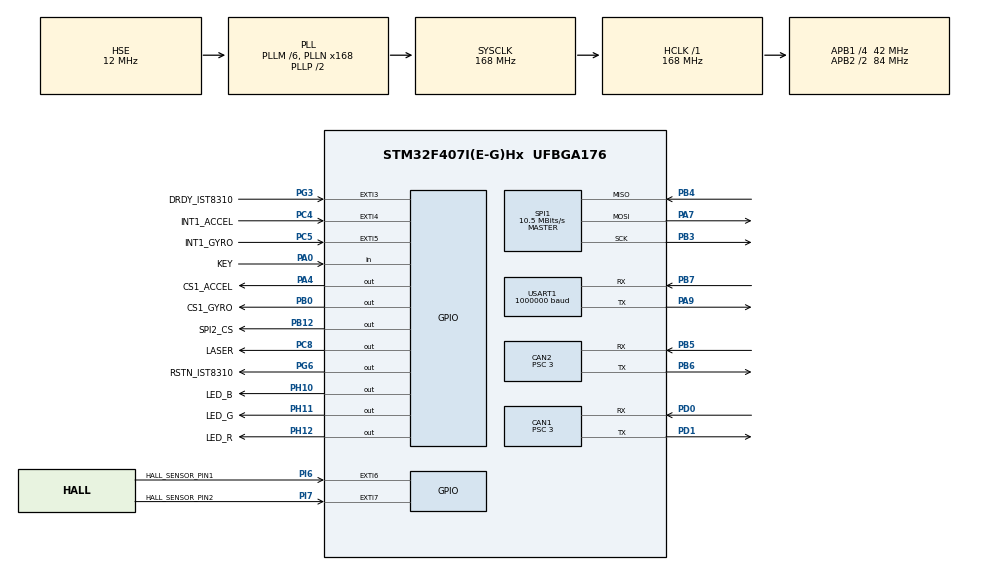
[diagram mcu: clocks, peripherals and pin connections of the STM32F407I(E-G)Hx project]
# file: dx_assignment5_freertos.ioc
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CAN1.ABOM=ENABLE
CAN1.AWUM=ENABLE
CAN1.BS1=CAN_BS1_7TQ
CAN1.BS2=CAN_BS2_6TQ
CAN1.CalculateBaudRate=1000000
CAN1.CalculateTimeBit=1000
CAN1.CalculateTimeQuantum=71.42857142857143
CAN1.Mode=CAN_MODE_NORMAL
CAN1.NART=ENABLE
CAN1.Prescaler=3
CAN1.TXFP=ENABLE
CAN2.BS1=CAN_BS1_7TQ
CAN2.BS2=CAN_BS2_6TQ
CAN2.CalculateBaudRate=1000000
CAN2.CalculateTimeBit=1000
CAN2.CalculateTimeQuantum=71.42857142857143
CAN2.Prescaler=3
Dma.Request0=SPI1_RX
Dma.Request1=SPI1_TX
Dma.Request2=USART1_RX
Dma.Request3=USART1_TX
Dma.SPI1_RX.0.Direction=DMA_PERIPH_TO_MEMORY
Dma.SPI1_RX.0.FIFOMode=DMA_FIFOMODE_DISABLE
Dma.SPI1_RX.0.Instance=DMA2_Stream0
Dma.SPI1_RX.0.MemDataAlignment=DMA_MDATAALIGN_BYTE
Dma.SPI1_RX.0.MemInc=DMA_MINC_ENABLE
Dma.SPI1_RX.0.Mode=DMA_NORMAL
Dma.SPI1_RX.0.PeriphDataAlignment=DMA_PDATAALIGN_BYTE
Dma.SPI1_RX.0.PeriphInc=DMA_PINC_DISABLE
Dma.SPI1_RX.0.Priority=DMA_PRIORITY_LOW
Dma.SPI1_TX.1.Direction=DMA_MEMORY_TO_PERIPH
Dma.SPI1_TX.1.FIFOMode=DMA_FIFOMODE_DISABLE
Dma.SPI1_TX.1.Instance=DMA2_Stream3
Dma.SPI1_TX.1.MemDataAlignment=DMA_MDATAALIGN_BYTE
Dma.SPI1_TX.1.MemInc=DMA_MINC_ENABLE
Dma.SPI1_TX.1.Mode=DMA_NORMAL
Dma.SPI1_TX.1.PeriphDataAlignment=DMA_PDATAALIGN_BYTE
Dma.SPI1_TX.1.PeriphInc=DMA_PINC_DISABLE
Dma.SPI1_TX.1.Priority=DMA_PRIORITY_LOW
Dma.USART1_RX.2.Direction=DMA_PERIPH_TO_MEMORY
Dma.USART1_RX.2.FIFOMode=DMA_FIFOMODE_DISABLE
Dma.USART1_RX.2.Instance=DMA2_Stream2
Dma.USART1_RX.2.MemDataAlignment=DMA_MDATAALIGN_BYTE
Dma.USART1_RX.2.MemInc=DMA_MINC_ENABLE
Dma.USART1_RX.2.Mode=DMA_NORMAL
Dma.USART1_RX.2.PeriphDataAlignment=DMA_PDATAALIGN_BYTE
Dma.USART1_RX.2.PeriphInc=DMA_PINC_DISABLE
Dma.USART1_RX.2.Priority=DMA_PRIORITY_LOW
Dma.USART1_TX.3.Direction=DMA_MEMORY_TO_PERIPH
Dma.USART1_TX.3.FIFOMode=DMA_FIFOMODE_DISABLE
Dma.USART1_TX.3.Instance=DMA2_Stream7
Dma.USART1_TX.3.MemDataAlignment=DMA_MDATAALIGN_BYTE
Dma.USART1_TX.3.MemInc=DMA_MINC_ENABLE
Dma.USART1_TX.3.Mode=DMA_NORMAL
Dma.USART1_TX.3.PeriphDataAlignment=DMA_PDATAALIGN_BYTE
Dma.USART1_TX.3.PeriphInc=DMA_PINC_DISABLE
Dma.USART1_TX.3.Priority=DMA_PRIORITY_LOW
FREERTOS.CountingSemaphores01=CAN1CountingSem,3,Dynamic,NULL;CAN2CountingSem,3,Dynamic,NULL
FREERTOS.Queues01=can1_send_fifo,16,can_device_transmit_member,0,Dynamic,NULL,NULL;can2_send_fifo,16,can_device_transmit_member,0,Dynamic,NULL,NULL
FREERTOS.Tasks01=CAN1_Sending_Service,40,256,can1_sending_service,As weak,NULL,Dynamic,NULL,NULL;CAN2_Sending_Service,40,256,can2_sending_service,As weak,NULL,Dynamic,NULL,NULL;DJI_Motor_Service,40,256,DJI_motor_service,As weak,NULL,Dynamic,NULL,NULL;LED_Task,8,128,StartLED_Task,As weak,NULL,Dynamic,NULL,NULL;IMU_Task,32,1024,StartIMU_Task,As weak,NULL,Dynamic,NULL,NULL;Motor_Task,40,512,StartMotor_Task,As weak,NULL,Dynamic,NULL,NULL;Power_Task,24,256,StartPower_Task,As weak,NULL,Dynamic,NULL,NULL;RC_Task,24,256,StartRC_Task,As weak,NULL,Dynamic,NULL,NULL
FREERTOS.configMAX_TASK_NAME_LEN=32
FREERTOS.configMINIMAL_STACK_SIZE=128
FREERTOS.configTOTAL_HEAP_SIZE=50000
FREERTOS.configUSE_NEWLIB_REENTRANT=1
Mcu.Family=STM32F4
Mcu.Name=STM32F407I(E-G)Hx
Mcu.Package=UFBGA176
NVIC.CAN1_RX0_IRQn=true\:5\:0\:false\:false\:true\:true\:true\:true\:true
NVIC.CAN1_TX_IRQn=true\:5\:0\:false\:false\:true\:true\:true\:true\:true
NVIC.CAN2_RX1_IRQn=true\:5\:0\:false\:false\:true\:true\:true\:true\:true
NVIC.CAN2_TX_IRQn=true\:5\:0\:false\:false\:true\:true\:true\:true\:true
NVIC.DMA2_Stream0_IRQn=true\:5\:0\:false\:false\:true\:true\:false\:true\:true
NVIC.DMA2_Stream2_IRQn=true\:5\:0\:false\:false\:true\:true\:false\:true\:true
NVIC.DMA2_Stream3_IRQn=true\:5\:0\:false\:false\:true\:true\:false\:true\:true
NVIC.DMA2_Stream7_IRQn=true\:5\:0\:false\:false\:true\:true\:false\:true\:true
NVIC.PriorityGroup=NVIC_PRIORITYGROUP_4
NVIC.TIM7_IRQn=true\:15\:0\:false\:false\:true\:false\:false\:true\:true
NVIC.TimeBase=TIM7_IRQn
NVIC.TimeBaseIP=TIM7
NVIC.USART1_IRQn=true\:5\:0\:false\:false\:true\:true\:true\:true\:true
PA0-WKUP.GPIO_Label=KEY
PA0-WKUP.GPIO_PuPd=GPIO_PULLUP
PA0-WKUP.Signal=GPIO_Input
PA13.Mode=Serial_Wire
PA13.Signal=SYS_JTMS-SWDIO
PA14.Mode=Serial_Wire
PA14.Signal=SYS_JTCK-SWCLK
PA4.GPIO_Label=CS1_ACCEL
PA4.GPIO_PuPd=GPIO_PULLUP
PA4.GPIO_Speed=GPIO_SPEED_FREQ_HIGH
PA4.PinState=GPIO_PIN_SET
PA4.Signal=GPIO_Output
PA7.Mode=Full_Duplex_Master
PA7.Signal=SPI1_MOSI
PA9.Mode=Asynchronous
PA9.Signal=USART1_TX
PB0.GPIO_Label=CS1_GYRO
PB0.GPIO_PuPd=GPIO_PULLUP
PB0.GPIO_Speed=GPIO_SPEED_FREQ_HIGH
PB0.PinState=GPIO_PIN_SET
PB0.Signal=GPIO_Output
PB12.GPIO_Label=SPI2_CS
PB12.GPIO_PuPd=GPIO_PULLUP
PB12.GPIO_Speed=GPIO_SPEED_FREQ_MEDIUM
PB12.PinState=GPIO_PIN_SET
PB12.Signal=GPIO_Output
PB3.Mode=Full_Duplex_Master
PB3.Signal=SPI1_SCK
PB4.Mode=Full_Duplex_Master
PB4.Signal=SPI1_MISO
PB5.Mode=CAN_Activate
PB5.Signal=CAN2_RX
PB6.Mode=CAN_Activate
PB6.Signal=CAN2_TX
PB7.Mode=Asynchronous
PB7.Signal=USART1_RX
PC4.GPIO_Label=INT1_ACCEL
PC4.GPIO_PuPd=GPIO_PULLUP
PC4.Signal=GPXTI4
PC5.GPIO_Label=INT1_GYRO
PC5.GPIO_PuPd=GPIO_PULLUP
PC5.Signal=GPXTI5
PC8.GPIO_Label=LASER
PC8.Signal=GPIO_Output
PD0.Mode=CAN_Activate
PD0.Signal=CAN1_RX
PD1.Mode=CAN_Activate
PD1.Signal=CAN1_TX
PG3.GPIO_Label=DRDY_IST8310
PG3.GPIO_PuPd=GPIO_PULLUP
PG3.Signal=GPXTI3
PG6.GPIO_Label=RSTN_IST8310
PG6.GPIO_PuPd=GPIO_PULLUP
PG6.GPIO_Speed=GPIO_SPEED_FREQ_MEDIUM
PG6.PinState=GPIO_PIN_SET
PG6.Signal=GPIO_Output
PH0-OSC_IN.Mode=HSE-External-Oscillator
PH0-OSC_IN.Signal=RCC_OSC_IN
PH1-OSC_OUT.Mode=HSE-External-Oscillator
PH1-OSC_OUT.Signal=RCC_OSC_OUT
PH10.GPIO_Label=LED_B
PH10.Signal=GPIO_Output
PH11.GPIO_Label=LED_G
PH11.Signal=GPIO_Output
PH12.GPIO_Label=LED_R
PH12.Signal=GPIO_Output
PI6.GPIO_Label=HALL_SENSOR_PIN1
PI6.Signal=GPXTI6
PI7.GPIO_Label=HALL_SENSOR_PIN2
PI7.Signal=GPXTI7
ProjectManager.HeapSize=0x200
ProjectManager.StackSize=0x400
ProjectManager.TargetToolchain=CMake
RCC.48MHZClocksFreq_Value=84000000
RCC.AHBFreq_Value=168000000
RCC.APB1CLKDivider=RCC_HCLK_DIV4
RCC.APB1Freq_Value=42000000
RCC.APB1TimFreq_Value=84000000
RCC.APB2CLKDivider=RCC_HCLK_DIV2
RCC.APB2Freq_Value=84000000
RCC.APB2TimFreq_Value=168000000
RCC.CortexFreq_Value=168000000
RCC.HCLKFreq_Value=168000000
RCC.HSE_VALUE=12000000
RCC.HSI_VALUE=16000000
RCC.LSE_VALUE=32768
RCC.PLLM=6
RCC.PLLN=168
RCC.PLLSourceVirtual=RCC_PLLSOURCE_HSE
RCC.SYSCLKFreq_VALUE=168000000
RCC.SYSCLKSource=RCC_SYSCLKSOURCE_PLLCLK
RCC.VCOOutputFreq_Value=336000000
SPI1.BaudRatePrescaler=SPI_BAUDRATEPRESCALER_8
SPI1.CLKPhase=SPI_PHASE_2EDGE
SPI1.CLKPolarity=SPI_POLARITY_HIGH
SPI1.CalculateBaudRate=10.5 MBits/s
SPI1.Direction=SPI_DIRECTION_2LINES
SPI1.Mode=SPI_MODE_MASTER
SPI1.VirtualType=VM_MASTER
USART1.BaudRate=1000000
USART1.Parity=PARITY_EVEN
USART1.VirtualMode=VM_ASYNC
USART1.WordLength=WORDLENGTH_9B
VP_FREERTOS_VS_CMSIS_V2.Mode=CMSIS_V2
VP_SYS_VS_tim7.Mode=TIM7
board=custom

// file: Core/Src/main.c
/* USER CODE BEGIN Header */
/**
  ******************************************************************************
  * @file           : main.c
  * @brief          : Main program body
  ******************************************************************************
  * @attention
  *
  * Copyright (c) 2026 STMicroelectronics.
  * All rights reserved.
  *
  * This software is licensed under terms that can be found in the LICENSE file
  * in the root directory of this software component.
  * If no LICENSE file comes with this software, it is provided AS-IS.
  *
  ******************************************************************************
  */
/* USER CODE END Header */
#include "main.h"
#include "cmsis_os.h"
#include "can.h"
#include "dma.h"
#include "spi.h"
#include "usart.h"
#include "gpio.h"

void SystemClock_Config(void);
void MX_FREERTOS_Init(void);

/* USER CODE BEGIN 0 */
void bsp_can_init() {
    HAL_CAN_Start(&hcan1);
    HAL_CAN_ActivateNotification(&hcan1,  CAN_IT_RX_FIFO0_MSG_PENDING | CAN_IT_TX_MAILBOX_EMPTY);
    HAL_CAN_Start(&hcan2);
    HAL_CAN_ActivateNotification(&hcan2,  CAN_IT_RX_FIFO1_MSG_PENDING | CAN_IT_TX_MAILBOX_EMPTY);
}
/* USER CODE END 0 */

int main(void)
{

  /* USER CODE BEGIN 1 */
  __HAL_RCC_SYSCLK_CONFIG(RCC_SYSCLKSOURCE_HSI);
  /* USER CODE END 1 */

  /* MCU Configuration--------------------------------------------------------*/

  /* Reset of all peripherals, Initializes the Flash interface and the Systick. */
  HAL_Init();

  /* Configure the system clock */
  SystemClock_Config();

  /* Initialize all configured peripherals */
  MX_GPIO_Init();
  MX_DMA_Init();
  MX_CAN1_Init();
  MX_CAN2_Init();
  MX_SPI1_Init();
  MX_USART1_UART_Init();
  /* USER CODE BEGIN 2 */
    bsp_can_init();
  /* USER CODE END 2 */

  /* Init scheduler */
  osKernelInitialize();  /* Call init function for freertos objects (in cmsis_os2.c) */
  MX_FREERTOS_Init();

  /* Start scheduler */
  osKernelStart();

  /* We should never get here as control is now taken by the scheduler */

  /* Infinite loop */
  while (1)
  {

  }
}

void SystemClock_Config(void)
{
  RCC_OscInitTypeDef RCC_OscInitStruct = {0};
  RCC_ClkInitTypeDef RCC_ClkInitStruct = {0};

  /** Configure the main internal regulator output voltage
  */
  __HAL_RCC_PWR_CLK_ENABLE();
  __HAL_PWR_VOLTAGESCALING_CONFIG(PWR_REGULATOR_VOLTAGE_SCALE1);

  /** Initializes the RCC Oscillators according to the specified parameters
  * in the RCC_OscInitTypeDef structure.
  */
  RCC_OscInitStruct.OscillatorType = RCC_OSCILLATORTYPE_HSE;
  RCC_OscInitStruct.HSEState = RCC_HSE_ON;
  RCC_OscInitStruct.PLL.PLLState = RCC_PLL_ON;
  RCC_OscInitStruct.PLL.PLLSource = RCC_PLLSOURCE_HSE;
  RCC_OscInitStruct.PLL.PLLM = 6;
  RCC_OscInitStruct.PLL.PLLN = 168;
  RCC_OscInitStruct.PLL.PLLP = RCC_PLLP_DIV2;
  RCC_OscInitStruct.PLL.PLLQ = 4;
  if (HAL_RCC_OscConfig(&RCC_OscInitStruct) != HAL_OK)
  {
    Error_Handler();
  }

  /** Initializes the CPU, AHB and APB buses clocks
  */
  RCC_ClkInitStruct.ClockType = RCC_CLOCKTYPE_HCLK|RCC_CLOCKTYPE_SYSCLK
                              |RCC_CLOCKTYPE_PCLK1|RCC_CLOCKTYPE_PCLK2;
  RCC_ClkInitStruct.SYSCLKSource = RCC_SYSCLKSOURCE_PLLCLK;
  RCC_ClkInitStruct.AHBCLKDivider = RCC_SYSCLK_DIV1;
  RCC_ClkInitStruct.APB1CLKDivider = RCC_HCLK_DIV4;
  RCC_ClkInitStruct.APB2CLKDivider = RCC_HCLK_DIV2;

  if (HAL_RCC_ClockConfig(&RCC_ClkInitStruct, FLASH_LATENCY_5) != HAL_OK)
  {
    Error_Handler();
  }
}

void HAL_TIM_PeriodElapsedCallback(TIM_HandleTypeDef *htim)
{
  if (htim->Instance == TIM7)
  {
    HAL_IncTick();
  }
}

void Error_Handler(void)
{
  __disable_irq();
  while (1)
  {
  }
}

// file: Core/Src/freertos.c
/* USER CODE BEGIN Header */
/**
  ******************************************************************************
  * File Name          : freertos.c
  * Description        : Code for freertos applications
  ******************************************************************************
  * @attention
  *
  * Copyright (c) 2026 STMicroelectronics.
  * All rights reserved.
  *
  * This software is licensed under terms that can be found in the LICENSE file
  * in the root directory of this software component.
  * If no LICENSE file comes with this software, it is provided AS-IS.
  *
  ******************************************************************************
  */
/* USER CODE END Header */

#include "FreeRTOS.h"
#include "task.h"
#include "main.h"
#include "cmsis_os.h"

/* USER CODE BEGIN Includes */
#include "spi.h"
#include "bsp_dwt.h"
#include "BMI088driver.h"
#include "QuaternionEKF.h"
/* USER CODE END Includes */

/* USER CODE BEGIN PTD */
typedef struct {
    CAN_HandleTypeDef *hcan;
    uint32_t id;
    uint8_t len;
    uint8_t *buf_data;
}can_device_transmit_member;
/* USER CODE END PTD */

/* Definitions for CAN1_Sending_Service */
osThreadId_t CAN1_Sending_ServiceHandle;
const osThreadAttr_t CAN1_Sending_Service_attributes = {
  .name = "CAN1_Sending_Service",
  .stack_size = 256 * 4,
  .priority = (osPriority_t) osPriorityHigh,
};
/* Definitions for CAN2_Sending_Service */
osThreadId_t CAN2_Sending_ServiceHandle;
const osThreadAttr_t CAN2_Sending_Service_attributes = {
  .name = "CAN2_Sending_Service",
  .stack_size = 256 * 4,
  .priority = (osPriority_t) osPriorityHigh,
};
/* Definitions for DJI_Motor_Service */
osThreadId_t DJI_Motor_ServiceHandle;
const osThreadAttr_t DJI_Motor_Service_attributes = {
  .name = "DJI_Motor_Service",
  .stack_size = 256 * 4,
  .priority = (osPriority_t) osPriorityHigh,
};
/* Definitions for LED_Task */
osThreadId_t LED_TaskHandle;
const osThreadAttr_t LED_Task_attributes = {
  .name = "LED_Task",
  .stack_size = 128 * 4,
  .priority = (osPriority_t) osPriorityLow,
};
/* Definitions for IMU_Task */
osThreadId_t IMU_TaskHandle;
const osThreadAttr_t IMU_Task_attributes = {
  .name = "IMU_Task",
  .stack_size = 1024 * 4,
  .priority = (osPriority_t) osPriorityAboveNormal,
};
/* Definitions for Motor_Task */
osThreadId_t Motor_TaskHandle;
const osThreadAttr_t Motor_Task_attributes = {
  .name = "Motor_Task",
  .stack_size = 512 * 4,
  .priority = (osPriority_t) osPriorityHigh,
};
/* Definitions for Power_Task */
osThreadId_t Power_TaskHandle;
const osThreadAttr_t Power_Task_attributes = {
  .name = "Power_Task",
  .stack_size = 256 * 4,
  .priority = (osPriority_t) osPriorityNormal,
};
/* Definitions for RC_Task */
osThreadId_t RC_TaskHandle;
const osThreadAttr_t RC_Task_attributes = {
  .name = "RC_Task",
  .stack_size = 256 * 4,
  .priority = (osPriority_t) osPriorityNormal,
};
/* Definitions for can1_send_fifo */
osMessageQueueId_t can1_send_fifoHandle;
const osMessageQueueAttr_t can1_send_fifo_attributes = {
  .name = "can1_send_fifo"
};
/* Definitions for can2_send_fifo */
osMessageQueueId_t can2_send_fifoHandle;
const osMessageQueueAttr_t can2_send_fifo_attributes = {
  .name = "can2_send_fifo"
};
/* Definitions for CAN1CountingSem */
osSemaphoreId_t CAN1CountingSemHandle;
const osSemaphoreAttr_t CAN1CountingSem_attributes = {
  .name = "CAN1CountingSem"
};
/* Definitions for CAN2CountingSem */
osSemaphoreId_t CAN2CountingSemHandle;
const osSemaphoreAttr_t CAN2CountingSem_attributes = {
  .name = "CAN2CountingSem"
};

void can1_sending_service(void *argument);
void can2_sending_service(void *argument);
void DJI_motor_service(void *argument);
void StartLED_Task(void *argument);
void StartIMU_Task(void *argument);
void StartMotor_Task(void *argument);
void StartPower_Task(void *argument);
void StartRC_Task(void *argument);

void MX_FREERTOS_Init(void); /* (MISRA C 2004 rule 8.1) */

void MX_FREERTOS_Init(void) {
  /* USER CODE BEGIN Init */
  DWT_Init(168);                 /* 168MHz，必须最先做，标定要用它计时 */

  /* calibrate=1：上电静止实测零偏，最多阻塞 10s；不依赖 INFANTRY_ID 常数 */
  BMI088_Init(&hspi1, 1);

  /* 参数顺序：(Q1, Q2, R, lambda, 加速度低通系数)，先与例程一致 */
  IMU_QuaternionEKF_Init(10.0f, 0.001f, 10000000.0f, 1.0f, 0.0f);
  /* USER CODE END Init */

  /* Create the semaphores(s) */
  /* creation of CAN1CountingSem */
  CAN1CountingSemHandle = osSemaphoreNew(3, 3, &CAN1CountingSem_attributes);

  /* creation of CAN2CountingSem */
  CAN2CountingSemHandle = osSemaphoreNew(3, 3, &CAN2CountingSem_attributes);

  /* Create the queue(s) */
  /* creation of can1_send_fifo */
  can1_send_fifoHandle = osMessageQueueNew (16, sizeof(can_device_transmit_member), &can1_send_fifo_attributes);

  /* creation of can2_send_fifo */
  can2_send_fifoHandle = osMessageQueueNew (16, sizeof(can_device_transmit_member), &can2_send_fifo_attributes);

  /* Create the thread(s) */
  /* creation of CAN1_Sending_Service */
  CAN1_Sending_ServiceHandle = osThreadNew(can1_sending_service, NULL, &CAN1_Sending_Service_attributes);

  /* creation of CAN2_Sending_Service */
  CAN2_Sending_ServiceHandle = osThreadNew(can2_sending_service, NULL, &CAN2_Sending_Service_attributes);

  /* creation of DJI_Motor_Service */
  DJI_Motor_ServiceHandle = osThreadNew(DJI_motor_service, NULL, &DJI_Motor_Service_attributes);

  /* creation of LED_Task */
  LED_TaskHandle = osThreadNew(StartLED_Task, NULL, &LED_Task_attributes);

  /* creation of IMU_Task */
  IMU_TaskHandle = osThreadNew(StartIMU_Task, NULL, &IMU_Task_attributes);

  /* creation of Motor_Task */
  Motor_TaskHandle = osThreadNew(StartMotor_Task, NULL, &Motor_Task_attributes);

  /* creation of Power_Task */
  Power_TaskHandle = osThreadNew(StartPower_Task, NULL, &Power_Task_attributes);

  /* creation of RC_Task */
  RC_TaskHandle = osThreadNew(StartRC_Task, NULL, &RC_Task_attributes);

}

__weak void can1_sending_service(void *argument)
{
  for(;;)
  {
    osDelay(1);
  }
}

__weak void can2_sending_service(void *argument)
{
  for(;;)
  {
    osDelay(1);
  }
}

__weak void DJI_motor_service(void *argument)
{
  for(;;)
  {
    osDelay(1);
  }
}

__weak void StartLED_Task(void *argument)
{
  for(;;)
  {
    osDelay(1);
  }
}

__weak void StartIMU_Task(void *argument)
{
  for(;;)
  {
    osDelay(1);
  }
}

__weak void StartMotor_Task(void *argument)
{
  for(;;)
  {
    osDelay(1);
  }
}

__weak void StartPower_Task(void *argument)
{
  for(;;)
  {
    osDelay(1);
  }
}

__weak void StartRC_Task(void *argument)
{
  for(;;)
  {
    osDelay(1);
  }
}
